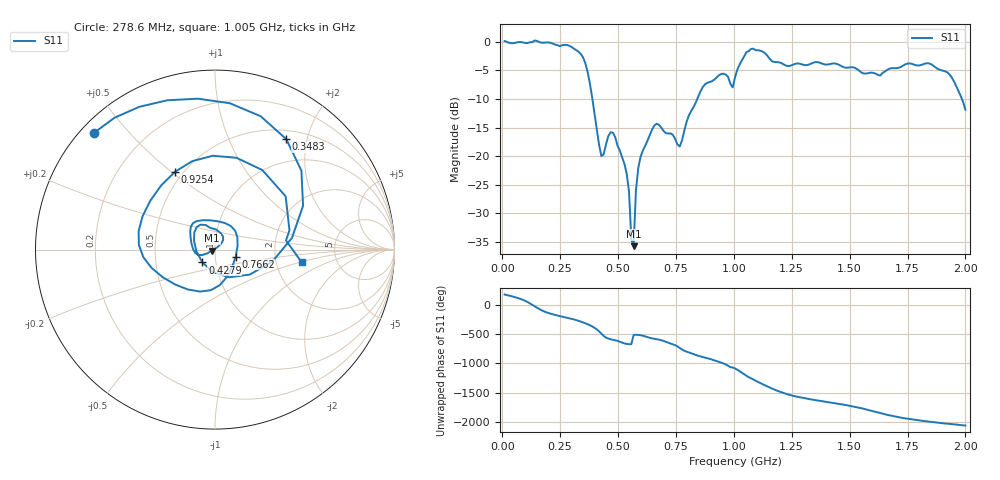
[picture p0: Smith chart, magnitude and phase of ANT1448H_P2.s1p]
!Created with skrf (http://scikit-rf.org).
# Hz S RI R 50.0
!freq ReS11 ImS11
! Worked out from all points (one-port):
!   201 points, 10 MHz to 2 GHz, reference 50 ohm
!   lowest |S11| = -35.7 dB at 567.2 MHz (marker M1), VSWR 1.03, Z = 48.5 - j0.608 ohm
!   |S11| at or under -10 dB: 389.1 MHz to 842.1 MHz (453.1 MHz wide, 73.6 % of centre); 1.985 GHz to end of sweep
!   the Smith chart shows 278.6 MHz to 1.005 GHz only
!   S11 on the Smith chart (normalised r, x): 278.6 MHz: 0.04, +0.40; 348.3 MHz: 0.62, +1.66; 427.9 MHz: 0.86, -0.12; 766.2 MHz: 1.26, -0.10; 925.4 MHz: 0.45, +0.52; 1.005 GHz: 2.80, -0.51
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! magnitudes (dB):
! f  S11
! 10 MHz  0.1
! 258.8 MHz  -0.6
! 278.6 MHz  -0.6
! 348.3 MHz  -2.7
! 378.1 MHz  -7.3
! 427.9 MHz  -20.0
! 467.7 MHz  -15.8
! 507.5 MHz  -19.0
! 537.4 MHz  -23.1
! 547.3 MHz  -26.2
! 557.2 MHz  -34.5
! 567.2 MHz  -35.7
! 577.1 MHz  -26.0
! 607 MHz  -19.0
! 666.7 MHz  -14.3
! 756.2 MHz  -17.9
! 766.2 MHz  -18.3
! 865.7 MHz  -7.9
! 925.4 MHz  -6.2
! 995 MHz  -8.0
! 1.005 GHz  -6.2
! 1.075 GHz  -1.3
! 1.254 GHz  -4.0
! 1.502 GHz  -4.5
! 1.632 GHz  -5.9
! 1.751 GHz  -3.8
! 1.92 GHz  -5.3
! 2 GHz  -11.9
